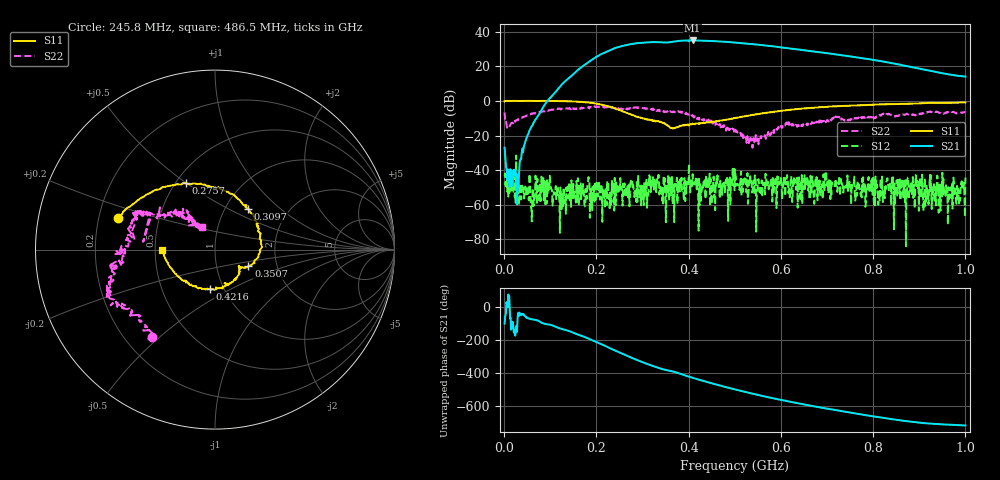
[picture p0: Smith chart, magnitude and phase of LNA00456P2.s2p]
! Created with skrf 1.9.0 (http://scikit-rf.org).
# Hz S RI R 50.0
!freq ReS11 ImS11 ReS21 ImS21 ReS12 ImS12 ReS22 ImS22
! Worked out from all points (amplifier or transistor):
!   1001 points, 1 MHz to 1 GHz, reference 50 ohm
!   highest |S21| = 34.9 dB at 408.6 MHz (marker M1)
!   |S21| within 3 dB of that: 259.6 MHz to 568.9 MHz (309.3 MHz wide, 74.7 % of centre)
!   unconditionally stable (mu >= 1): 225.9 MHz to 308.7 MHz; 322.8 MHz to 400.5 MHz; 400.8 MHz to end of sweep (the widest 3 of 47)
!   at 166.8 MHz: K = 3.61, MAG = 30.1 dB, |S12| = -57.8 dB
!   at 500.5 MHz: K = 1.08, MAG = 35.1 dB, |S12| = -39.7 dB
!   at 1 GHz: K = 2.24, MAG = 22.9 dB, |S12| = -44.3 dB
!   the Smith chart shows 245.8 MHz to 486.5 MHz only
!   S11 on the Smith chart (normalised r, x): 245.8 MHz: 0.28, +0.15; 275.7 MHz: 0.56, +0.50; 309.7 MHz: 1.27, +0.63; 350.6 MHz: 1.43, -0.28; 421.6 MHz: 0.86, -0.39; 486.5 MHz: 0.54, -0.00
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1000000  0.9764 0.000639  -0.00914 -0.0436  -0.0065 0.00223  0.3211 0.335
1.08892e8  0.531 -0.8426  -0.7799 -1.469  -0.00217 -0.000617  0.4189 -0.3775
1.67833e8  -0.2107 -0.9123  -9.558 -0.6537  0.000792 0.00262  0.0313 -0.6387
2.11789e8  -0.6827 -0.3781  -15.32 17.09  -0.00317 -0.000268  -0.2126 -0.6266
2.45755e8  -0.5396 0.1783  1.029 35.39  -0.00186 -0.00227  -0.3493 -0.4847
2.75725e8  -0.1637 0.3697  27.45 34.36  -0.00341 0.00271  -0.5465 -0.3181
3.09691e8  0.1813 0.2276  47.66 12.01  -0.000637 -0.000519  -0.5897 -0.1555
3.34666e8  0.2618 0.0154  49.06 -8.939  -0.00572 0.00458  -0.5184 0.00251
3.5065e8  0.1864 -0.0925  44.94 -18.79  0.000296 0.000101  -0.4893 0.0669
3.76624e8  0.1364 -0.1126  40.74 -35.33  -7.49e-05 0.00315  -0.4477 0.1922
4.08592e8  0.043 -0.2167  19.24 -52.4  -0.00297 0.00703  -0.307 0.2352
4.21579e8  -0.0302 -0.2179  9.08 -54.39  0.000162 7.55e-05  -0.2445 0.2112
4.5055e8  -0.1843 -0.1694  -12.5 -52.55  -0.000854 0.00325  -0.1595 0.1702
4.86514e8  -0.2954 -0.00034  -32.38 -38.47  0.00501 0.00196  -0.074 0.1264
5.005e8  -0.3141 0.0819  -37.53 -31.07  0.00661 0.0079  -0.0628 0.1328
5.4046e8  -0.2603 0.305  -42.19 -9.756  0.00259 0.00308  -0.0832 -0.0129
5.88412e8  -0.0693 0.4906  -35.3 10.78  0.00427 -0.00369  -0.1287 -0.0873
6.26374e8  0.1102 0.556  -25.06 19.68  0.00102 -0.00371  -0.1575 -0.1175
6.67333e8  0.3151 0.5486  -13.46 23.42  0.000195 -0.00611  -0.2355 -0.0607
7.53247e8  0.6268 0.3814  3.784 18.6  -0.000251 -0.00399  -0.2982 0.00319
8.34166e8  0.7889 0.1507  9.346 8.759  0.00162 -0.00186  -0.4179 0.0345
1e9  0.8192 -0.3797  5.056 0.2169  -0.006 0.00116  -0.2477 0.3941
